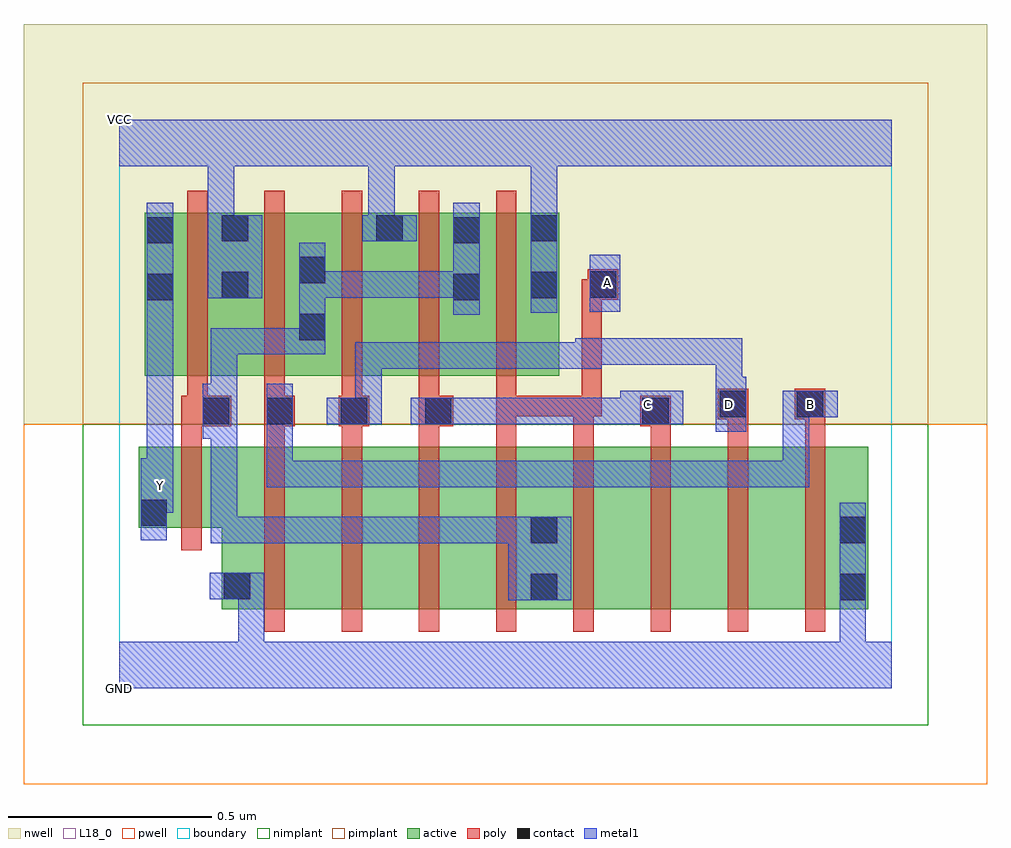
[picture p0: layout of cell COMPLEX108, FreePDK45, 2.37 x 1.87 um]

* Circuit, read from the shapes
.subckt COMPLEX108 A B C D GND VCC Y
M1 GND n1 Y VSUBS nfet w=0.2u l=0.05u
M2 n2 B GND VSUBS nfet w=0.4u l=0.05u
M3 n3 D n2 VSUBS nfet w=0.4u l=0.05u
M4 n4 C n3 VSUBS nfet w=0.4u l=0.05u
M5 n1 A n4 VSUBS nfet w=0.4u l=0.05u
M6 n5 A n1 VSUBS nfet w=0.4u l=0.05u
M7 n6 C n5 VSUBS nfet w=0.4u l=0.05u
M8 n7 D n6 VSUBS nfet w=0.4u l=0.05u
M9 GND B n7 VSUBS nfet w=0.4u l=0.05u
M10 VCC n1 Y n8 pfet w=0.4u l=0.05u
M11 n1 B VCC n8 pfet w=0.4u l=0.05u
M12 VCC D n1 n8 pfet w=0.4u l=0.05u
M13 n1 C VCC n8 pfet w=0.4u l=0.05u
M14 VCC A n1 n8 pfet w=0.4u l=0.05u
.ends

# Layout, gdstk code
import gdstk
lib = gdstk.Library(unit=1e-6, precision=1e-09)
def R(c, l, rs):  # rectangles x0, y0, x1, y1
    for r in rs: c.add(gdstk.rectangle(r[:2], r[2:], *l))
def A(c, l, x, y, w, h, nx, ny, dx, dy):  # array of equal rectangles
    R(c, l, [(x+i*dx, y+j*dy, x+i*dx+w, y+j*dy+h) for i in range(nx) for j in range(ny)])
active = (1, 0)
pwell = (2, 0)
nwell = (3, 0)
nimplant = (4, 0)
pimplant = (5, 0)
poly = (9, 0)
contact = (10, 0)
metal1 = (11, 0)
L18_0 = (18, 0)
boundary = (235, 0)

complex108 = lib.new_cell('COMPLEX108')
A(complex108, active, 0.247, 0.77, 0.265, 0.4, 4, 1, 0.19, 0)
A(complex108, active, 0.627, 0.907, 0.075, 0.263, 3, 1, 0.19, 0)
R(complex108, active, [(0.252,0.195,0.477,0.595), (0.252,0.195,0.327,0.527), (0.477,0.195,0.667,0.595), (0.667,0.195,0.857,0.595), (0.857,0.195,1.082,0.595), (1.007,0.195,1.237,0.595), (1.007,0.195,1.082,0.492), (1.237,0.195,1.427,0.595), (1.427,0.195,1.617,0.595), (1.617,0.195,1.842,0.595), (1.767,0.195,1.842,0.595), (0.047,0.395,0.327,0.595), (0.047,0.395,0.122,0.595), (0.062,0.77,0.137,1.17), (0.062,0.77,0.322,1.17), (0.437,0.77,0.512,1.105), (0.247,0.802,0.322,1.17)])
R(complex108, pwell, [(-0.235,-0.235,2.135,0.65)])
R(complex108, nwell, [(-0.235,0.65,2.135,1.635)])
R(complex108, nimplant, [(-0.09,-0.09,1.99,0.65)])
R(complex108, pimplant, [(-0.09,0.65,1.99,1.49)])
A(complex108, poly, 0.357, 0.14, 0.05, 0.51, 8, 1, 0.19, 0)
A(complex108, poly, 0.357, 0.6, 0.05, 0.095, 3, 1, 0.19, 0)
A(complex108, poly, 0.167, 0.67, 0.05, 0.095, 5, 1, 0.19, 0)
A(complex108, poly, 0.167, 0.715, 0.05, 0.51, 5, 1, 0.19, 0)
R(complex108, poly, [(0.152,0.34,0.202,0.65), (0.152,0.6,0.202,0.695), (0.927,0.6,0.977,0.72), (1.117,0.6,1.167,0.72), (1.307,0.6,1.357,0.695), (1.497,0.6,1.547,0.712), (1.687,0.6,1.737,0.712), (0.152,0.645,0.275,0.72), (0.357,0.645,0.432,0.72), (0.54,0.645,0.615,0.72), (0.737,0.645,0.822,0.72), (1.282,0.645,1.357,0.72), (1.472,0.662,1.547,0.737), (1.662,0.662,1.737,0.737), (0.927,0.67,0.977,0.72), (0.927,0.67,1.167,0.72), (1.117,0.67,1.167,0.72), (1.117,0.67,1.167,0.72), (1.117,0.67,1.187,0.72), (1.137,0.67,1.187,1.007), (1.137,0.957,1.202,1.007), (1.152,0.957,1.227,1.032), (1.152,0.957,1.202,1.007)])
A(complex108, contact, 0.252, 1.1, 0.065, 0.065, 3, 1, 0.38, 0)
R(complex108, contact, [(1.012,0.217,1.077,0.282), (1.772,0.217,1.837,0.282), (0.257,0.22,0.322,0.285), (1.012,0.357,1.077,0.422), (1.772,0.357,1.837,0.422), (0.052,0.4,0.117,0.465), (0.205,0.65,0.27,0.715), (0.362,0.65,0.427,0.715), (0.545,0.65,0.61,0.715), (0.752,0.65,0.817,0.715), (1.287,0.65,1.352,0.715), (1.477,0.667,1.542,0.732), (1.667,0.667,1.732,0.732), (0.442,0.857,0.507,0.922), (0.067,0.955,0.132,1.02), (0.822,0.955,0.887,1.02), (0.252,0.96,0.317,1.025), (1.012,0.96,1.077,1.025), (1.157,0.962,1.222,1.027), (0.442,0.997,0.507,1.062), (0.067,1.095,0.132,1.16), (0.822,1.095,0.887,1.16)])
R(complex108, metal1, [(0,0,1.9,0.115), (0.292,0.05,0.357,0.285), (1.772,0.05,1.837,0.247), (1.772,0.182,1.837,0.457), (0.957,0.217,1.112,0.422), (0.222,0.22,0.357,0.285), (0.225,0.357,0.29,0.422), (0.225,0.357,0.29,0.422), (0.225,0.357,0.29,0.422), (0.225,0.357,0.427,0.422), (0.225,0.357,0.29,0.68), (0.362,0.357,0.427,0.422), (0.362,0.357,0.427,0.422), (0.362,0.357,0.427,0.422), (0.362,0.357,0.645,0.422), (0.58,0.357,0.645,0.422), (0.58,0.357,0.645,0.422), (0.58,0.357,0.645,0.422), (0.58,0.357,0.782,0.422), (0.717,0.357,0.782,0.422), (0.717,0.357,0.782,0.422), (0.717,0.357,0.782,0.422), (0.717,0.357,1.022,0.422), (0.957,0.357,1.022,0.422), (0.957,0.357,1.022,0.422), (0.052,0.365,0.117,0.5), (0.052,0.432,0.132,0.567), (0.052,0.435,0.117,0.5), (0.362,0.495,0.427,0.56), (0.362,0.495,0.645,0.56), (0.362,0.495,0.427,0.68), (0.58,0.495,0.645,0.56), (0.58,0.495,0.645,0.56), (0.58,0.495,0.645,0.56), (0.58,0.495,0.782,0.56), (0.717,0.495,0.782,0.56), (0.717,0.495,0.782,0.56), (0.717,0.495,0.782,0.56), (0.717,0.495,1.022,0.56), (0.957,0.495,1.022,0.56), (0.957,0.495,1.022,0.56), (0.957,0.495,1.022,0.56), (0.957,0.495,1.16,0.56), (1.095,0.495,1.16,0.56), (1.095,0.495,1.395,0.56), (1.33,0.495,1.395,0.56), (1.33,0.495,1.395,0.56), (1.33,0.495,1.395,0.56), (1.33,0.495,1.56,0.56), (1.495,0.495,1.56,0.56), (1.495,0.495,1.56,0.56), (1.495,0.495,1.56,0.56), (1.495,0.495,1.697,0.56), (1.632,0.495,1.697,0.56), (1.632,0.495,1.697,0.732), (0.067,0.502,0.132,0.985), (0.205,0.615,0.27,0.75), (0.205,0.615,0.29,0.68), (0.225,0.615,0.29,0.68), (0.225,0.615,0.29,0.887), (0.362,0.615,0.427,0.68), (0.362,0.615,0.427,0.68), (0.362,0.615,0.427,0.75), (1.467,0.632,1.542,0.767), (0.51,0.65,0.645,0.715), (0.58,0.65,0.645,0.715), (0.58,0.65,0.645,0.715), (0.58,0.65,0.645,0.852), (0.717,0.65,0.852,0.715), (0.787,0.65,0.852,0.715), (0.787,0.65,0.852,0.715), (0.787,0.65,1.022,0.715), (0.957,0.65,1.022,0.715), (0.957,0.65,1.022,0.715), (0.957,0.65,1.022,0.715), (0.957,0.65,1.16,0.715), (1.095,0.65,1.16,0.715), (1.095,0.65,1.297,0.715), (1.232,0.65,1.297,0.715), (1.232,0.65,1.297,0.715), (1.232,0.65,1.387,0.732), (1.632,0.667,1.697,0.732), (1.632,0.667,1.697,0.732), (1.632,0.667,1.767,0.732), (1.467,0.702,1.532,0.767), (1.467,0.702,1.532,0.767), (1.467,0.702,1.532,0.862), (0.58,0.787,0.645,0.852), (0.58,0.787,0.782,0.852), (0.717,0.787,0.782,0.852), (0.717,0.787,0.782,0.852), (0.717,0.787,0.782,0.852), (0.717,0.787,1.022,0.852), (0.957,0.787,1.022,0.852), (0.957,0.787,1.022,0.852), (0.957,0.787,1.022,0.852), (0.957,0.787,1.16,0.852), (1.095,0.787,1.16,0.852), (1.095,0.787,1.187,0.852), (1.122,0.787,1.187,0.862), (1.122,0.797,1.297,0.862), (1.232,0.797,1.297,0.862), (1.232,0.797,1.532,0.862), (1.467,0.797,1.532,0.862), (0.225,0.822,0.29,0.887), (0.225,0.822,0.437,0.887), (0.372,0.822,0.437,0.887), (0.372,0.822,0.507,0.887), (0.442,0.822,0.507,1.097), (0.067,0.92,0.132,1.195), (0.822,0.92,0.887,1.195), (1.012,0.925,1.077,1.2), (1.157,0.927,1.232,1.067), (0.217,0.96,0.352,1.165), (0.442,0.962,0.507,1.027), (0.442,0.962,0.645,1.027), (0.442,0.962,0.507,1.097), (0.58,0.962,0.645,1.027), (0.58,0.962,0.645,1.027), (0.58,0.962,0.645,1.027), (0.58,0.962,0.885,1.027), (0.82,0.962,0.885,1.027), (0.82,0.962,0.887,1.027), (0.217,1.1,0.282,1.35), (0.597,1.1,0.732,1.165), (0.612,1.1,0.677,1.165), (0.612,1.1,0.677,1.165), (0.612,1.1,0.677,1.35), (1.012,1.135,1.077,1.2), (1.012,1.135,1.077,1.2), (1.012,1.135,1.077,1.35), (0,1.285,1.9,1.4), (0.217,1.285,0.282,1.35), (0.217,1.285,0.282,1.35)])
R(complex108, L18_0, [(0,0,1.9,0.115), (0.292,0.05,0.357,0.285), (1.772,0.05,1.837,0.247), (1.772,0.182,1.837,0.457), (0.222,0.22,0.357,0.285), (0.052,0.365,0.117,0.5), (0.052,0.432,0.132,0.567), (0.052,0.435,0.117,0.5), (0.067,0.467,0.132,0.532), (0.362,0.495,0.427,0.56), (0.362,0.495,0.427,0.68), (0.362,0.495,0.645,0.56), (0.58,0.495,0.645,0.56), (0.58,0.495,0.645,0.56), (0.58,0.495,0.645,0.56), (0.58,0.495,0.782,0.56), (0.717,0.495,0.782,0.56), (0.717,0.495,0.782,0.56), (0.717,0.495,0.782,0.56), (0.717,0.495,1.022,0.56), (0.957,0.495,1.022,0.56), (0.957,0.495,1.022,0.56), (0.957,0.495,1.022,0.56), (0.957,0.495,1.16,0.56), (1.095,0.495,1.16,0.56), (1.095,0.495,1.395,0.56), (1.33,0.495,1.395,0.56), (1.33,0.495,1.395,0.56), (1.33,0.495,1.395,0.56), (1.33,0.495,1.56,0.56), (1.495,0.495,1.56,0.56), (1.495,0.495,1.56,0.56), (1.495,0.495,1.56,0.56), (1.495,0.495,1.697,0.56), (1.632,0.495,1.697,0.56), (1.632,0.495,1.697,0.732), (0.067,0.502,0.132,0.985), (0.362,0.615,0.427,0.75), (0.362,0.615,0.427,0.68), (0.362,0.615,0.427,0.68), (1.467,0.632,1.542,0.767), (0.51,0.65,0.645,0.715), (0.58,0.65,0.645,0.715), (0.58,0.65,0.645,0.715), (0.58,0.65,0.645,0.852), (0.717,0.65,0.852,0.715), (0.787,0.65,0.852,0.715), (0.787,0.65,0.852,0.715), (0.787,0.65,1.022,0.715), (0.957,0.65,1.022,0.715), (0.957,0.65,1.022,0.715), (0.957,0.65,1.022,0.715), (0.957,0.65,1.16,0.715), (1.095,0.65,1.16,0.715), (1.095,0.65,1.297,0.715), (1.232,0.65,1.297,0.715), (1.232,0.65,1.297,0.715), (1.232,0.65,1.387,0.732), (1.267,0.667,1.332,0.732), (1.467,0.667,1.532,0.732), (1.632,0.667,1.697,0.732), (1.632,0.667,1.697,0.732), (1.632,0.667,1.767,0.732), (1.667,0.667,1.732,0.732), (1.467,0.702,1.532,0.767), (1.467,0.702,1.532,0.767), (1.467,0.702,1.532,0.862), (0.58,0.787,0.645,0.852), (0.58,0.787,0.782,0.852), (0.717,0.787,0.782,0.852), (0.717,0.787,0.782,0.852), (0.717,0.787,0.782,0.852), (0.717,0.787,1.022,0.852), (0.957,0.787,1.022,0.852), (0.957,0.787,1.022,0.852), (0.957,0.787,1.022,0.852), (0.957,0.787,1.16,0.852), (1.095,0.787,1.16,0.852), (1.095,0.787,1.187,0.852), (1.122,0.787,1.187,0.862), (1.122,0.797,1.297,0.862), (1.232,0.797,1.297,0.862), (1.232,0.797,1.532,0.862), (1.467,0.797,1.532,0.862), (0.067,0.92,0.132,1.195), (1.012,0.925,1.077,1.2), (1.157,0.927,1.232,1.067), (0.217,0.96,0.352,1.165), (1.167,0.967,1.232,1.032), (0.217,1.1,0.282,1.35), (0.597,1.1,0.732,1.165), (0.612,1.1,0.677,1.165), (0.612,1.1,0.677,1.165), (0.612,1.1,0.677,1.35), (1.012,1.135,1.077,1.2), (1.012,1.135,1.077,1.2), (1.012,1.135,1.077,1.35), (0,1.285,1.9,1.4), (0.217,1.285,0.282,1.35), (0.217,1.285,0.282,1.35)])
R(complex108, boundary, [(0,0,1.9,1.4)])
complex108.add(gdstk.Label('A', (1.2,1), layer=11, texttype=0))
complex108.add(gdstk.Label('B', (1.7,0.7), layer=11, texttype=0))
complex108.add(gdstk.Label('C', (1.3,0.7), layer=11, texttype=0))
complex108.add(gdstk.Label('D', (1.5,0.7), layer=11, texttype=0))
complex108.add(gdstk.Label('Y', (0.1,0.5), layer=11, texttype=0))
complex108.add(gdstk.Label('VCC', (0,1.4), layer=11, texttype=0))
complex108.add(gdstk.Label('GND', (0,0), layer=11, texttype=0))

lib.write_gds('COMPLEX108.gds')
